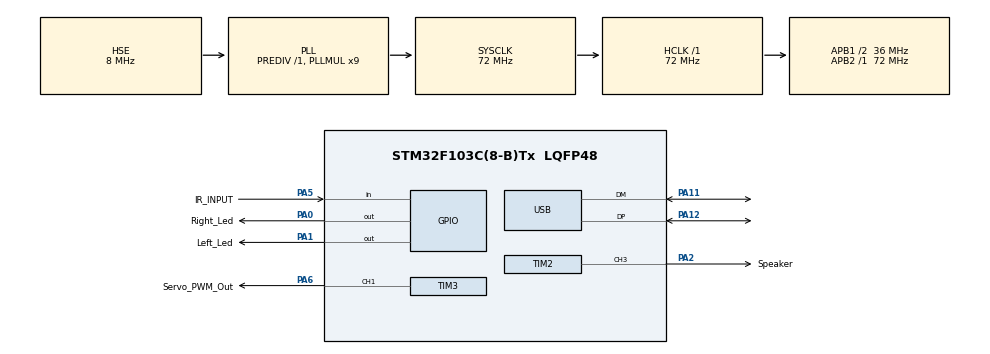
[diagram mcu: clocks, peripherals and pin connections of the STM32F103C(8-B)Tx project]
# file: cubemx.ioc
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Mcu.Family=STM32F1
Mcu.Name=STM32F103C(8-B)Tx
Mcu.Package=LQFP48
NVIC.PriorityGroup=NVIC_PRIORITYGROUP_4
NVIC.TIM2_IRQn=true\:0\:0\:false\:false\:true\:true
NVIC.USB_LP_CAN1_RX0_IRQn=true\:0\:0\:false\:false\:true\:false
PA0-WKUP.GPIO_Label=Right_Led
PA0-WKUP.Signal=GPIO_Output
PA1.GPIO_Label=Left_Led
PA1.Signal=GPIO_Output
PA11.Mode=Device
PA11.Signal=USB_DM
PA12.Mode=Device
PA12.Signal=USB_DP
PA13.Mode=Serial_Wire
PA13.Signal=SYS_JTMS-SWDIO
PA14.Mode=Serial_Wire
PA14.Signal=SYS_JTCK-SWCLK
PA2.GPIO_Label=Speaker
PA2.Signal=S_TIM2_CH3
PA5.GPIO_Label=IR_INPUT
PA5.GPIO_PuPd=GPIO_NOPULL
PA5.Signal=GPIO_Input
PA6.GPIO_Label=Servo_PWM_Out
PA6.Signal=S_TIM3_CH1
PC14-OSC32_IN.Mode=LSE-External-Oscillator
PC14-OSC32_IN.Signal=RCC_OSC32_IN
PC15-OSC32_OUT.Mode=LSE-External-Oscillator
PC15-OSC32_OUT.Signal=RCC_OSC32_OUT
PD0-OSC_IN.Mode=HSE-External-Oscillator
PD0-OSC_IN.Signal=RCC_OSC_IN
PD1-OSC_OUT.Mode=HSE-External-Oscillator
PD1-OSC_OUT.Signal=RCC_OSC_OUT
ProjectManager.HeapSize=0x200
ProjectManager.StackSize=0x400
ProjectManager.TargetToolchain=Other Toolchains (GPDSC)
RCC.AHBFreq_Value=72000000
RCC.APB1CLKDivider=RCC_HCLK_DIV2
RCC.APB1Freq_Value=36000000
RCC.APB1TimFreq_Value=72000000
RCC.APB2Freq_Value=72000000
RCC.APB2TimFreq_Value=72000000
RCC.HCLKFreq_Value=72000000
RCC.PLLMUL=RCC_PLL_MUL9
RCC.PLLSourceVirtual=RCC_PLLSOURCE_HSE
RCC.SYSCLKFreq_VALUE=72000000
RCC.SYSCLKSource=RCC_SYSCLKSOURCE_PLLCLK
RCC.USBFreq_Value=48000000
RCC.USBPrescaler=RCC_USBCLKSOURCE_PLL_DIV1_5
SH.S_TIM2_CH3.0=TIM2_CH3,PWM Generation3 CH3
SH.S_TIM3_CH1.0=TIM3_CH1,PWM Generation1 CH1
TIM2.Channel-PWM\ Generation3\ CH3=TIM_CHANNEL_3
TIM2.Period=225-1
TIM2.Prescaler=2-1
TIM3.Channel-PWM\ Generation1\ CH1=TIM_CHANNEL_1
TIM3.Period=1800-1
TIM3.Prescaler=800-1
TIM3.Pulse-PWM\ Generation1\ CH1=90
USB_DEVICE.CLASS_NAME_FS=CDC
USB_DEVICE.VirtualMode=Cdc
USB_DEVICE.VirtualModeFS=Cdc_FS
VP_TIM2_VS_ClockSourceINT.Mode=Internal
VP_TIM3_VS_ClockSourceINT.Mode=Internal
VP_USB_DEVICE_VS_USB_DEVICE_CDC_FS.Mode=CDC_FS
board=custom

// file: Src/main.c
/**
  ******************************************************************************
  * @file           : main.c
  * @brief          : Main program body
  ******************************************************************************
  * This notice applies to any and all portions of this file
  * that are not between comment pairs USER CODE BEGIN and
  * USER CODE END. Other portions of this file, whether
  * inserted by the user or by software development tools
  * are owned by their respective copyright owners.
  *
  * Copyright (c) 2018 STMicroelectronics International N.V.
  * All rights reserved.
  *
  * Redistribution and use in source and binary forms, with or without
  * modification, are permitted, provided that the following conditions are met:
  *
  * 1. Redistribution of source code must retain the above copyright notice,
  *    this list of conditions and the following disclaimer.
  * 2. Redistributions in binary form must reproduce the above copyright notice,
  *    this list of conditions and the following disclaimer in the documentation
  *    and/or other materials provided with the distribution.
  * 3. Neither the name of STMicroelectronics nor the names of other
  *    contributors to this software may be used to endorse or promote products
  *    derived from this software without specific written permission.
  * 4. This software, including modifications and/or derivative works of this
  *    software, must execute solely and exclusively on microcontroller or
  *    microprocessor devices manufactured by or for STMicroelectronics.
  * 5. Redistribution and use of this software other than as permitted under
  *    this license is void and will automatically terminate your rights under
  *    this license.
  *
  * THIS SOFTWARE IS PROVIDED BY STMICROELECTRONICS AND CONTRIBUTORS "AS IS"
  * AND ANY EXPRESS, IMPLIED OR STATUTORY WARRANTIES, INCLUDING, BUT NOT
  * LIMITED TO, THE IMPLIED WARRANTIES OF MERCHANTABILITY, FITNESS FOR A
  * PARTICULAR PURPOSE AND NON-INFRINGEMENT OF THIRD PARTY INTELLECTUAL PROPERTY
  * RIGHTS ARE DISCLAIMED TO THE FULLEST EXTENT PERMITTED BY LAW. IN NO EVENT
  * SHALL STMICROELECTRONICS OR CONTRIBUTORS BE LIABLE FOR ANY DIRECT, INDIRECT,
  * INCIDENTAL, SPECIAL, EXEMPLARY, OR CONSEQUENTIAL DAMAGES (INCLUDING, BUT NOT
  * LIMITED TO, PROCUREMENT OF SUBSTITUTE GOODS OR SERVICES; LOSS OF USE, DATA,
  * OR PROFITS; OR BUSINESS INTERRUPTION) HOWEVER CAUSED AND ON ANY THEORY OF
  * LIABILITY, WHETHER IN CONTRACT, STRICT LIABILITY, OR TORT (INCLUDING
  * NEGLIGENCE OR OTHERWISE) ARISING IN ANY WAY OUT OF THE USE OF THIS SOFTWARE,
  * EVEN IF ADVISED OF THE POSSIBILITY OF SUCH DAMAGE.
  *
  ******************************************************************************
  */
#include "main.h"
#include "stm32f1xx_hal.h"
#include "tim.h"
#include "usb_device.h"
#include "gpio.h"

/* USER CODE BEGIN Includes */
#include "bell.h"
#include "irmp.h"
/* USER CODE END Includes */

/* USER CODE BEGIN PV */
/* Private variables ---------------------------------------------------------*/
#ifdef APP_DEBUG
#define DEBUG_APP(debug_line) do {char* message = debug_line; CDC_Transmit_FS(message, strlen(message));} while(0)
#endif

#define FALSE     0
#define TRUE      1
#define OFF       0
#define ON        1
#define UP        0
#define DOWN      1
#define GO_UP     -1
#define GO_DOWN    1
#define ANGLE_PWM_COMPARE_MIN                   90
#define BARRIER_START_ANGLE                      0
#define BARRIER_STOP_ANGLE                      80
#define BARRIER_ANGLE_STEP_INTERVAL_MS         20UL
#define RUNNING 0
#define STOPPED 1
#define IR_KEY_CMD  1
#define LIGHTS_TOGGLE_INTERVAL_MS 1000UL
uint8_t barrier_pwm_state = STOPPED;
uint8_t barrier_state = UP;
int8_t barrier_direction = GO_UP;
uint8_t audio_tick = FALSE;
/* USER CODE END PV */

void SystemClock_Config(void);

/* USER CODE BEGIN PFP */
/* Private function prototypes -----------------------------------------------*/
void HAL_TIM_PeriodElapsedCallback(TIM_HandleTypeDef *htim) {
  // this callback runs with a frequency of 160KHz for PWM Audio output
  static uint32_t freq_divider = 0;

  if (htim->Instance == htim2.Instance) {
    // IR & Audio sampling frequency must be ~16KHz
    if(++freq_divider >= 10) {
      irmp_ISR();
      audio_tick = TRUE;
      freq_divider = 0;
    }
  }
}

void Audio_Task(void) {
  static uint32_t sound_sample_index = 0;

  if (audio_tick) {
    if (barrier_direction == GO_DOWN || barrier_state == DOWN) {
      if (++sound_sample_index >= SND_DATA_SAMPLES) {
        sound_sample_index = 0;
      }
      __HAL_TIM_SET_COMPARE(&htim2, TIM_CHANNEL_3, bell_sound_data[sound_sample_index]);
    }

    if (barrier_state == UP) {
      sound_sample_index = 0;
      __HAL_TIM_SET_COMPARE(&htim2, TIM_CHANNEL_3, 0);
    }
    audio_tick = FALSE;
  }
}

void IR_Task(void) {
  IRMP_DATA irmp_data;

  if (irmp_get_data (&irmp_data)) {
  #ifdef APP_DEBUG
    char ir_message[128];
    //DEBUG_APP("GOT IR SIGNAL\r\n");
    sprintf(ir_message, "IR Command: %d Address: %d\r\n", irmp_data.command, irmp_data.address);
    DEBUG_APP(ir_message);
  #endif
    if (irmp_data.command == IR_KEY_CMD) {
      if (barrier_state == UP) {
        barrier_direction = GO_DOWN;
      }

      if (barrier_state == DOWN) {
        barrier_direction = GO_UP;
      }
    }
  }
}

void Lights_Task(void) {
  static uint32_t last_tick = 0;

  if (barrier_direction == GO_DOWN || barrier_state == DOWN) {
    if ((HAL_GetTick() - last_tick) >= LIGHTS_TOGGLE_INTERVAL_MS) {
      HAL_GPIO_TogglePin(GPIOA, Right_Led_Pin);
      HAL_GPIO_WritePin(GPIOA, Left_Led_Pin, !HAL_GPIO_ReadPin(GPIOA, Right_Led_Pin));
      last_tick = HAL_GetTick();
    }
  }

  if (barrier_state == UP) {
    HAL_GPIO_WritePin(GPIOA, Left_Led_Pin|Right_Led_Pin, GPIO_PIN_RESET);
  }
}

void Servo_Barrier_Task(void) {
  // 1 -> 1,5ms <=> 0 -> 90 degrees
  static uint32_t last_tick = 0;
  uint16_t current_angle = __HAL_TIM_GET_COMPARE(&htim3, TIM_CHANNEL_1) - ANGLE_PWM_COMPARE_MIN;

  if ((barrier_direction == GO_DOWN) && (current_angle >= BARRIER_STOP_ANGLE)) {
    barrier_state = DOWN;
    HAL_TIM_PWM_Stop(&htim3, TIM_CHANNEL_1);
    barrier_pwm_state = STOPPED;
    return;
  }

  if ((barrier_direction == GO_UP) && (current_angle <= BARRIER_START_ANGLE)) {
    barrier_state = UP;
    HAL_TIM_PWM_Stop(&htim3, TIM_CHANNEL_1);
    barrier_pwm_state = STOPPED;
    return;
  }

  if (barrier_pwm_state == STOPPED) {
    HAL_TIM_PWM_Start(&htim3, TIM_CHANNEL_1);
    barrier_pwm_state = RUNNING;
  }

  if (HAL_GetTick() - last_tick >= BARRIER_ANGLE_STEP_INTERVAL_MS) {
    __HAL_TIM_SET_COMPARE(&htim3, TIM_CHANNEL_1, barrier_direction + __HAL_TIM_GET_COMPARE(&htim3, TIM_CHANNEL_1));
    last_tick = HAL_GetTick();
  }
}

/* USER CODE END PFP */

int main(void)
{

  /* MCU Configuration----------------------------------------------------------*/

  /* Reset of all peripherals, Initializes the Flash interface and the Systick. */
  HAL_Init();

  /* Configure the system clock */
  SystemClock_Config();

  /* Initialize all configured peripherals */
  MX_GPIO_Init();
  MX_TIM3_Init();
  MX_USB_DEVICE_Init();
  MX_TIM2_Init();
  /* USER CODE BEGIN 2 */
  //HAL_TIM_PWM_Start(&htim3, TIM_CHANNEL_1);
  barrier_pwm_state = STOPPED;
  HAL_TIM_Base_Start_IT(&htim2);
  HAL_TIM_PWM_Start(&htim2, TIM_CHANNEL_3);
  irmp_init(); // initialize irmp
#ifdef APP_DEBUG
  DEBUG_APP("Started ...\r\n");
#endif
  /* USER CODE END 2 */

  /* Infinite loop */
  while (1)
  {

  /* USER CODE BEGIN 3 */
    IR_Task();
    Lights_Task();
    Audio_Task();
    Servo_Barrier_Task();
  }
  /* USER CODE END 3 */

}

void SystemClock_Config(void)
{

  RCC_OscInitTypeDef RCC_OscInitStruct;
  RCC_ClkInitTypeDef RCC_ClkInitStruct;
  RCC_PeriphCLKInitTypeDef PeriphClkInit;

    /**Initializes the CPU, AHB and APB busses clocks
    */
  RCC_OscInitStruct.OscillatorType = RCC_OSCILLATORTYPE_HSE;
  RCC_OscInitStruct.HSEState = RCC_HSE_ON;
  RCC_OscInitStruct.HSEPredivValue = RCC_HSE_PREDIV_DIV1;
  RCC_OscInitStruct.HSIState = RCC_HSI_ON;
  RCC_OscInitStruct.PLL.PLLState = RCC_PLL_ON;
  RCC_OscInitStruct.PLL.PLLSource = RCC_PLLSOURCE_HSE;
  RCC_OscInitStruct.PLL.PLLMUL = RCC_PLL_MUL9;
  if (HAL_RCC_OscConfig(&RCC_OscInitStruct) != HAL_OK)
  {
    _Error_Handler(__FILE__, __LINE__);
  }

    /**Initializes the CPU, AHB and APB busses clocks
    */
  RCC_ClkInitStruct.ClockType = RCC_CLOCKTYPE_HCLK|RCC_CLOCKTYPE_SYSCLK
                              |RCC_CLOCKTYPE_PCLK1|RCC_CLOCKTYPE_PCLK2;
  RCC_ClkInitStruct.SYSCLKSource = RCC_SYSCLKSOURCE_PLLCLK;
  RCC_ClkInitStruct.AHBCLKDivider = RCC_SYSCLK_DIV1;
  RCC_ClkInitStruct.APB1CLKDivider = RCC_HCLK_DIV2;
  RCC_ClkInitStruct.APB2CLKDivider = RCC_HCLK_DIV1;

  if (HAL_RCC_ClockConfig(&RCC_ClkInitStruct, FLASH_LATENCY_2) != HAL_OK)
  {
    _Error_Handler(__FILE__, __LINE__);
  }

  PeriphClkInit.PeriphClockSelection = RCC_PERIPHCLK_USB;
  PeriphClkInit.UsbClockSelection = RCC_USBCLKSOURCE_PLL_DIV1_5;
  if (HAL_RCCEx_PeriphCLKConfig(&PeriphClkInit) != HAL_OK)
  {
    _Error_Handler(__FILE__, __LINE__);
  }

    /**Configure the Systick interrupt time
    */
  HAL_SYSTICK_Config(HAL_RCC_GetHCLKFreq()/1000);

    /**Configure the Systick
    */
  HAL_SYSTICK_CLKSourceConfig(SYSTICK_CLKSOURCE_HCLK);

  /* SysTick_IRQn interrupt configuration */
  HAL_NVIC_SetPriority(SysTick_IRQn, 0, 0);
}

void _Error_Handler(char *file, int line)
{
  while(1)
  {
  }
}

/************************ (C) COPYRIGHT STMicroelectronics *****END OF FILE****/
